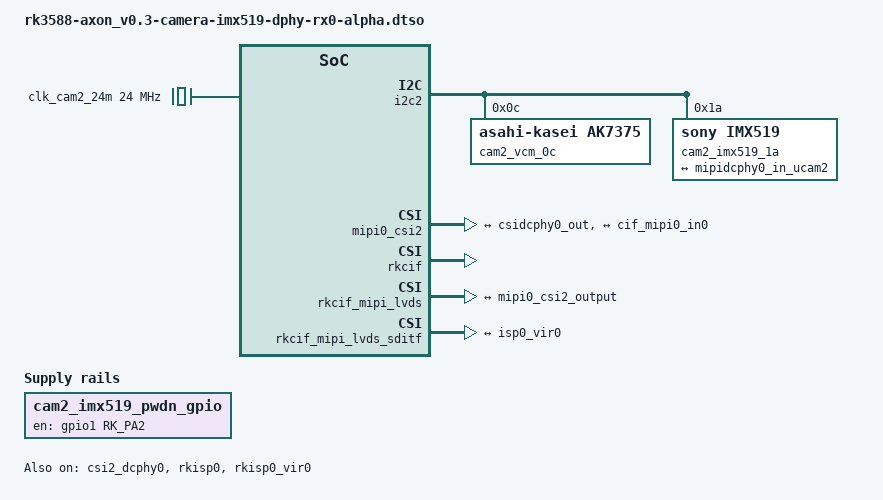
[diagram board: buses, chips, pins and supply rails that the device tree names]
// SPDX-License-Identifier: GPL-2.0+
// Copyright (C) 2024 Vicharak Computers PVT LTD

/dts-v1/;
/plugin/;

#include <dt-bindings/gpio/gpio.h>
#include <dt-bindings/pinctrl/rockchip.h>

&{/} {
	metadata {
		title = "Enable Arducam 16MP Camera (IMX519) on dphy RX0 Alpha Axon V0.3";
		compatible = "vicharak,rk3588-axon", "rockchip,rk3588";
		category = "camera";
		exclusive = "cam2", "imx519_2_1a", "csi2_dcphy0", "mipi0_csi2", \
			    "rkcif_mipi_lvds", "rkcif_mipi_lvds_sditf", \
			    "rkisp0_vir0", "cam2_vcm_0c";
		description = "Enables IMX519 based Arducam 16MP Camera on
\t\tVicharak Axon at I2C 2 bus address 1a on dphy RX0";
	};

	cam2_imx519_pwdn_gpio: cam2-pwdn-gpio {
		status = "okay";
		compatible = "regulator-fixed";
		regulator-name = "cam2_pwdn_gpio";
		regulator-always-on;
		regulator-boot-on;
		enable-active-high;
		gpio = <&gpio1 RK_PA2 GPIO_ACTIVE_HIGH>;
		pinctrl-names = "default";
		pinctrl-0 = <&cam2_pwdn_gpio>;
	};
	
	clk_cam2_24m: external-cam2-clock-24m {
		status = "okay";
		compatible = "fixed-clock";
		clock-frequency = <24000000>;
		clock-output-names = "clk_cam2_24m";
		#clock-cells = <0>;
	};
};

&i2c2 {
	status = "okay";
	#address-cells = <1>;
	#size-cells = <0>;
	pinctrl-0 = <&i2c2m4_xfer>;
	
	cam2_vcm_0c: cam2-vcm@0c {
		compatible = "asahi-kasei,ak7375";
		status = "okay";
		reg = <0x0c>;
	};

	cam2_imx519_1a: cam2-imx519@1a {
		status = "okay";
		compatible = "sony,imx519";
		reg = <0x1a>;

		clocks = <&clk_cam2_24m>;
		clock-names = "xclk";

		rockchip,camera-module-index = <2>;
		rockchip,camera-module-facing = "front";
		rockchip,camera-module-name = "arducam";
		rockchip,camera-module-lens-name = "default";

		lens-focus = <&cam2_vcm_0c>;

		port {
			cam2_imx519_out0: endpoint {
				remote-endpoint = <&mipidcphy0_in_ucam2>;
				link-frequencies = /bits/ 64 <408000000>;
				data-lanes = <1 2>;
			};
		};
	};
};

&csi2_dcphy0 {
	status = "okay";

	ports {
		#address-cells = <1>;
		#size-cells = <0>;

		port@0 {
			reg = <0>;
			#address-cells = <1>;
			#size-cells = <0>;

			mipidcphy0_in_ucam2: endpoint@1 {
				reg = <1>;
				remote-endpoint = <&cam2_imx519_out0>;
				data-lanes = <1 2>;
			};
		};

		port@1 {
			reg = <1>;
			#address-cells = <1>;
			#size-cells = <0>;

			csidcphy0_out: endpoint@0 {
				reg = <0>;
				remote-endpoint = <&mipi0_csi2_input>;
			};
		};
	};
};

&mipi0_csi2 {
	status = "okay";

	ports {
		#address-cells = <1>;
		#size-cells = <0>;

		port@0 {
			reg = <0>;
			#address-cells = <1>;
			#size-cells = <0>;

			mipi0_csi2_input: endpoint@1 {
				reg = <1>;
				remote-endpoint = <&csidcphy0_out>;
			};
		};

		port@1 {
			reg = <1>;
			#address-cells = <1>;
			#size-cells = <0>;

			mipi0_csi2_output: endpoint@0 {
				reg = <0>;
				remote-endpoint = <&cif_mipi0_in0>;
			};
		};
	};
};

&rkcif {
	status = "okay";
};

&rkcif_mipi_lvds {
	status = "okay";

	port {
		cif_mipi0_in0: endpoint {
			remote-endpoint = <&mipi0_csi2_output>;
		};
	};
};

&rkcif_mipi_lvds_sditf {
	status = "okay";

	port {
		mipi0_lvds_sditf: endpoint {
			remote-endpoint = <&isp0_vir0>;
		};
	};
};

&rkcif_mmu {
	status = "okay";
};

&rkisp0 {
	status = "okay";
};

&isp0_mmu {
	status = "okay";
};

&rkisp0_vir0 {
	status = "okay";

	port {
		#address-cells = <1>;
		#size-cells = <0>;

		isp0_vir0: endpoint@0 {
			reg = <0>;
			remote-endpoint = <&mipi0_lvds_sditf>;
		};
	};
};

&pinctrl {
	camera {
		cam2_pwdn_gpio: cam2-pwdn-gpio {
			rockchip,pins = <1 RK_PA2 RK_FUNC_GPIO &pcfg_pull_up>;
		};
	};
};
